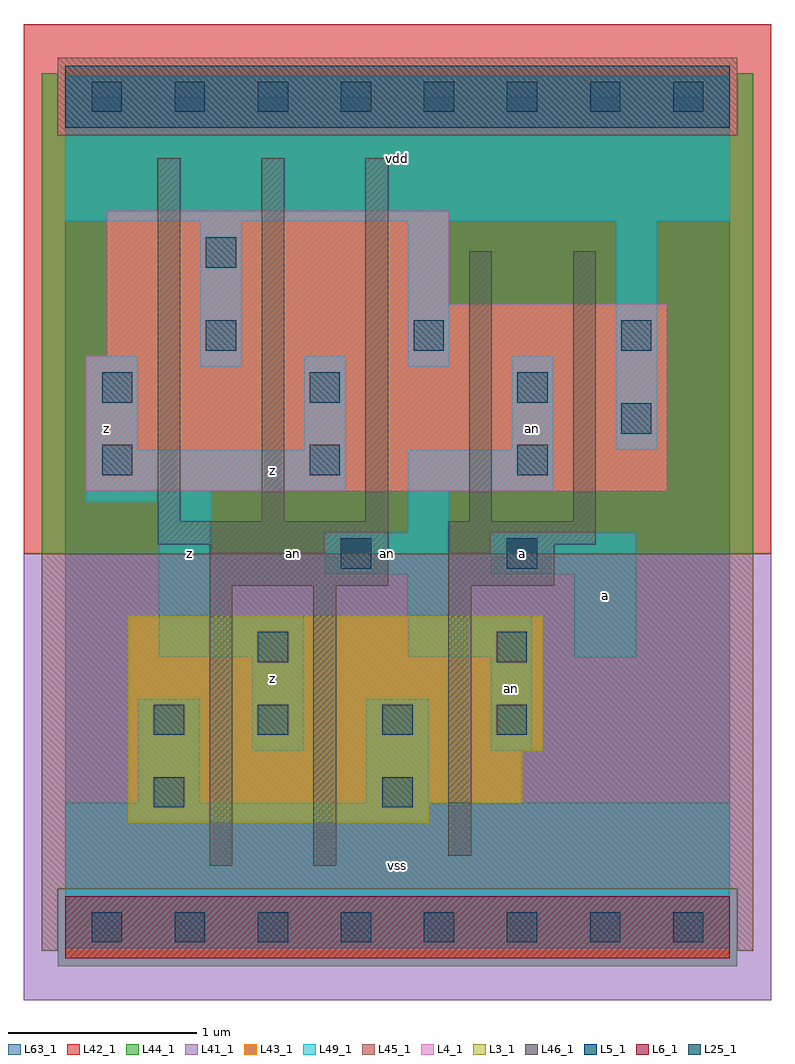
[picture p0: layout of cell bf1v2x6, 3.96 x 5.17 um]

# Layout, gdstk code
import gdstk
lib = gdstk.Library(unit=1e-6, precision=1e-09)
def R(c, l, rs):  # rectangles x0, y0, x1, y1
    for r in rs: c.add(gdstk.rectangle(r[:2], r[2:], *l))
def A(c, l, x, y, w, h, nx, ny, dx, dy):  # array of equal rectangles
    R(c, l, [(x+i*dx, y+j*dy, x+i*dx+w, y+j*dy+h) for i in range(nx) for j in range(ny)])
L3_1 = (3, 1)
L4_1 = (4, 1)
L5_1 = (5, 1)
L6_1 = (6, 1)
L25_1 = (25, 1)
L41_1 = (41, 1)
L42_1 = (42, 1)
L43_1 = (43, 1)
L44_1 = (44, 1)
L45_1 = (45, 1)
L46_1 = (46, 1)
L49_1 = (49, 1)
L63_1 = (63, 1)

bf1v2x6 = lib.new_cell('bf1v2x6')
R(bf1v2x6, L3_1, [(0.33,0.55,1.925,0.66), (0.33,0.66,2.42,0.935), (0.33,0.935,2.53,1.65)])
R(bf1v2x6, L4_1, [(0.11,2.31,3.19,3.025), (0.22,3.025,3.19,3.3), (0.22,3.3,2.035,3.795)])
R(bf1v2x6, L5_1, [(0,4.235,3.52,4.565)])
R(bf1v2x6, L6_1, [(0,-0.165,3.52,0.165)])
A(bf1v2x6, L25_1, 0.14, -0.08, 0.16, 0.16, 8, 2, 0.44, 4.4)
A(bf1v2x6, L25_1, 0.195, 2.395, 0.16, 0.16, 3, 2, 1.1, 0.385)
A(bf1v2x6, L25_1, 0.745, 3.055, 0.16, 0.16, 3, 1, 1.1, 0)
R(bf1v2x6, L25_1, [(0.47,0.635,0.63,0.795), (1.68,0.635,1.84,0.795), (0.47,1.02,0.63,1.18), (1.02,1.02,1.18,1.18), (1.68,1.02,1.84,1.18), (2.285,1.02,2.445,1.18), (1.02,1.405,1.18,1.565), (2.285,1.405,2.445,1.565), (1.46,1.9,1.62,2.06), (2.34,1.9,2.5,2.06), (2.945,2.615,3.105,2.775), (0.745,3.495,0.905,3.655)])
R(bf1v2x6, L41_1, [(-0.22,-0.385,3.74,1.98)])
R(bf1v2x6, L42_1, [(-0.22,1.98,3.74,4.785)])
R(bf1v2x6, L43_1, [(0,-0.165,3.52,0.165), (0.33,0.55,1.925,0.66), (0.33,0.66,2.42,0.935), (0.33,0.935,2.53,1.65), (0.11,2.31,3.19,3.025), (0.22,3.025,3.19,3.3), (0.22,3.3,2.035,3.795), (0,4.235,3.52,4.565)])
R(bf1v2x6, L44_1, [(-0.04,-0.205,3.56,0.205), (-0.125,1.98,3.645,4.195), (-0.125,4.195,-0.04,4.525), (3.56,4.195,3.645,4.525)])
R(bf1v2x6, L45_1, [(-0.125,-0.125,-0.04,0.205), (3.56,-0.125,3.645,0.205), (-0.125,0.205,3.645,1.98), (-0.04,4.195,3.56,4.605)])
A(bf1v2x6, L46_1, 0.49, 2.15, 0.12, 1.925, 3, 1, 0.55, 0)
R(bf1v2x6, L46_1, [(0.765,0.325,0.885,1.81), (1.315,0.325,1.435,1.81), (2.03,0.38,2.15,1.81), (0.765,1.81,1.71,2.03), (2.03,1.81,2.59,2.03), (0.49,2.03,1.71,2.15), (2.03,2.03,2.81,2.15), (2.14,2.15,2.26,3.58), (2.69,2.15,2.81,3.58)])
R(bf1v2x6, L49_1, [(0,-0.11,3.52,0.66), (0.385,0.66,0.715,1.21), (1.595,0.66,1.925,1.21), (0.99,0.935,1.265,1.43), (2.255,0.935,2.475,1.43), (0.495,1.43,1.265,1.65), (1.815,1.43,2.475,1.65), (2.695,1.43,3.025,1.87), (0.495,1.65,0.77,2.255), (1.815,1.65,2.035,1.87), (1.375,1.87,2.035,2.09), (2.255,1.87,3.025,2.09), (1.815,2.09,2.035,2.31), (0.11,2.255,0.77,2.31), (0.11,2.31,1.485,2.53), (1.815,2.31,2.585,2.53), (0.11,2.53,0.385,3.025), (1.265,2.53,1.485,3.025), (2.365,2.53,2.585,3.025), (2.915,2.53,3.135,3.74), (0.715,2.97,0.935,3.74), (1.815,2.97,2.035,3.74), (0,3.74,3.52,4.51)])
R(bf1v2x6, L63_1, [(0,0,3.52,4.4)])
bf1v2x6.add(gdstk.Label('an', (1.21,1.98), layer=46, texttype=1))
bf1v2x6.add(gdstk.Label('z', (0.66,1.98), layer=49, texttype=1))
bf1v2x6.add(gdstk.Label('z', (0.22,2.64), layer=49, texttype=1))
bf1v2x6.add(gdstk.Label('z', (1.1,1.32), layer=49, texttype=1))
bf1v2x6.add(gdstk.Label('z', (1.1,2.42), layer=49, texttype=1))
bf1v2x6.add(gdstk.Label('vss', (1.76,0.33), layer=49, texttype=1))
bf1v2x6.add(gdstk.Label('an', (2.365,1.265), layer=49, texttype=1))
bf1v2x6.add(gdstk.Label('an', (1.705,1.98), layer=49, texttype=1))
bf1v2x6.add(gdstk.Label('a', (2.42,1.98), layer=49, texttype=1))
bf1v2x6.add(gdstk.Label('an', (2.475,2.64), layer=49, texttype=1))
bf1v2x6.add(gdstk.Label('vdd', (1.76,4.07), layer=49, texttype=1))
bf1v2x6.add(gdstk.Label('a', (2.86,1.76), layer=49, texttype=1))

lib.write_gds('bf1v2x6.gds')
